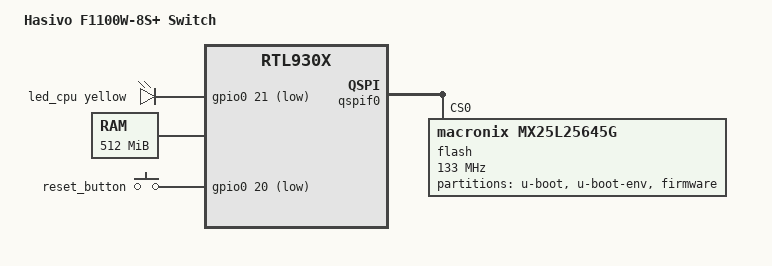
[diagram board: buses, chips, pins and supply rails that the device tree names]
// SPDX-License-Identifier: (GPL-2.0-or-later OR MIT)
/dts-v1/;

#include <dt-bindings/gpio/gpio.h>
#include <dt-bindings/input/input.h>
#include <dt-bindings/leds/common.h>
#include <dt-bindings/leds/leds-realtek.h>

#include "rtl9303.dtsi"
#include "rtl9303_common_8s.dtsi"

/ {
	compatible = "hasivo,f1100w-8splus", "realtek,rtl9303-soc", "realtek,rtl930x-soc";
	model = "Hasivo F1100W-8S+ Switch";

	aliases {
		led-boot = &led_cpu;
		led-failsafe = &led_cpu;
		led-running = &led_cpu;
		led-upgrade = &led_cpu;
	};

	leds {
		compatible = "gpio-leds";

		led_cpu: led-cpu {
			color = <LED_COLOR_ID_YELLOW>;
			function = LED_FUNCTION_STATUS;
			gpios = <&gpio0 21 GPIO_ACTIVE_LOW>;
			panic-indicator;
		};
	};

	led_set {
		compatible = "realtek,rtl9302-leds", "realtek,rtl9300-leds";
		led_set0 = /bits/ 16 <
			/* LED0 */
			(
				RTL93XX_LED_SET_LINK_ACTIVITY |
				RTL93XX_LED_SET_LINK_UP_SOLID |
				RTL93XX_LED_SET_1000M_LINK |
				RTL93XX_LED_SET_100M_LINK |
				RTL93XX_LED_SET_10M_LINK
			)
			/* LED1 */
			(
				RTL93XX_LED_SET_LINK_ACTIVITY |
				RTL93XX_LED_SET_LINK_UP_SOLID |
				RTL93XX_LED_SET_10G_LINK
			)
			/* LED2 */
			(
				RTL93XX_LED_SET_LINK_ACTIVITY |
				RTL93XX_LED_SET_LINK_UP_SOLID |
				RTL93XX_LED_SET_10G_LINK
			)
		>;
	};

	memory@0 {
		reg = <0x0 0x20000000>; /* 512 MiB */
		device_type = "memory";
	};
};

&qspif0 {
	status = "okay";

	flash@0 {
		compatible = "macronix,mx25l25645g", "mxicy,mx25l25645g", "jedec,spi-nor";
		reg = <0>;
		spi-max-frequency = <133000000>;

		partitions: partitions {
			compatible = "fixed-partitions";
			#address-cells = <1>;
			#size-cells = <1>;

			partition@0 {
				reg = <0x0 0xe0000>;
				label = "u-boot";
				read-only;
			};

			partition@e0000 {
				reg = <0xe0000 0x10000>;
				label = "u-boot-env";
			};

			partition@f0000 {
				compatible = "openwrt,uimage", "denx,uimage";
				reg = <0xf0000 0x1f10000>;
				label = "firmware";
				openwrt,ih-magic = <0x93030000>;
			};
		};
	};
};

&reset_button {
	gpios = <&gpio0 20 GPIO_ACTIVE_LOW>;

	status = "okay";
};

&sfp0 {
	mod-def0-gpio = <&gpio0 0 GPIO_ACTIVE_LOW>;
};

&sfp1 {
	mod-def0-gpio = <&gpio0 1 GPIO_ACTIVE_LOW>;
};

&sfp2 {
	mod-def0-gpio = <&gpio0 2 GPIO_ACTIVE_LOW>;
};

&sfp3 {
	mod-def0-gpio = <&gpio0 3 GPIO_ACTIVE_LOW>;
};

&sfp4 {
	mod-def0-gpio = <&gpio0 4 GPIO_ACTIVE_LOW>;
};

&sfp5 {
	mod-def0-gpio = <&gpio0 5 GPIO_ACTIVE_LOW>;
};

&sfp6 {
	mod-def0-gpio = <&gpio0 6 GPIO_ACTIVE_LOW>;
};

&sfp7 {
	mod-def0-gpio = <&gpio0 7 GPIO_ACTIVE_LOW>;
};

&switch0_ports {
	port@0 {
		reg = <0>;
		label = "lan1";
		led-num = <(
			RTL93XX_LED_NUM0 | /* Orange */
			RTL93XX_LED_NUM1 | /* Lime */
			RTL93XX_LED_NUM2   /* Lime */
		)>;
		led-set = <0>;
		phy-handle = <&phy0>;
		phy-mode = "10gbase-r";
		managed = "in-band-status";
		sfp = <&sfp0>;
	};

	port@8 {
		reg = <8>;
		label = "lan2";
		led-num = <(
			RTL93XX_LED_NUM0 | /* Orange */
			RTL93XX_LED_NUM1 | /* Lime */
			RTL93XX_LED_NUM2   /* Lime */
		)>;
		led-set = <0>;
		phy-mode = "10gbase-r";
		phy-handle = <&phy8>;
		managed = "in-band-status";
		sfp = <&sfp1>;
	};

	port@16 {
		reg = <16>;
		label = "lan3";
		led-num = <(
			RTL93XX_LED_NUM0 | /* Orange */
			RTL93XX_LED_NUM1 | /* Lime */
			RTL93XX_LED_NUM2   /* Lime */
		)>;
		led-set = <0>;
		phy-mode = "10gbase-r";
		phy-handle = <&phy16>;
		managed = "in-band-status";
		sfp = <&sfp2>;
	};

	port@20 {
		reg = <20>;
		label = "lan4";
		led-num = <(
			RTL93XX_LED_NUM0 | /* Orange */
			RTL93XX_LED_NUM1 | /* Lime */
			RTL93XX_LED_NUM2   /* Lime */
		)>;
		led-set = <0>;
		phy-mode = "10gbase-r";
		phy-handle = <&phy20>;
		managed = "in-band-status";
		sfp = <&sfp3>;
	};

	port@24 {
		reg = <24>;
		label = "lan5";
		led-num = <(
			RTL93XX_LED_NUM0 | /* Orange */
			RTL93XX_LED_NUM1 | /* Lime */
			RTL93XX_LED_NUM2   /* Lime */
		)>;
		led-set = <0>;
		phy-mode = "10gbase-r";
		phy-handle = <&phy24>;
		managed = "in-band-status";
		sfp = <&sfp4>;
	};

	port@25 {
		reg = <25>;
		label = "lan6";
		led-num = <(
			RTL93XX_LED_NUM0 | /* Orange */
			RTL93XX_LED_NUM1 | /* Lime */
			RTL93XX_LED_NUM2   /* Lime */
		)>;
		led-set = <0>;
		phy-mode = "10gbase-r";
		phy-handle = <&phy25>;
		managed = "in-band-status";
		sfp = <&sfp5>;
	};

	port@26 {
		reg = <26>;
		label = "lan7";
		led-num = <(
			RTL93XX_LED_NUM0 | /* Orange */
			RTL93XX_LED_NUM1 | /* Lime */
			RTL93XX_LED_NUM2   /* Lime */
		)>;
		led-set = <0>;
		phy-mode = "10gbase-r";
		phy-handle = <&phy26>;
		managed = "in-band-status";
		sfp = <&sfp6>;
	};

	port@27 {
		reg = <27>;
		label = "lan8";
		led-num = <(
			RTL93XX_LED_NUM0 | /* Orange */
			RTL93XX_LED_NUM1 | /* Lime */
			RTL93XX_LED_NUM2   /* Lime */
		)>;
		led-set = <0>;
		phy-mode = "10gbase-r";
		phy-handle = <&phy27>;
		managed = "in-band-status";
		sfp = <&sfp7>;
	};
};
